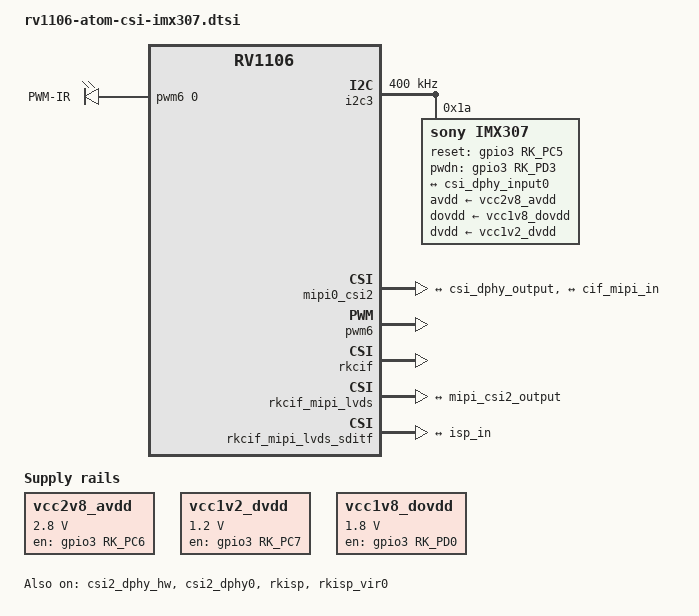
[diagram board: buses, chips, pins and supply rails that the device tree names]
// SPDX-License-Identifier: (GPL-2.0+ OR MIT)
/*
 * Copyright (c) 2022 Rockchip Electronics Co., Ltd.
 *
 */

/ {
	pwmleds {
		compatible = "pwm-leds";

		pwmi_ir {
			label = "PWM-IR";
			pwms = <&pwm6 0 25000 0>;
			max-brightness = <100>;
			linux,default-trigger = "default-on";
		};
	};

	vcc2v8_avdd: vcc2v8_avdd {
		compatible = "regulator-fixed";
		gpio = <&gpio3 RK_PC6 GPIO_ACTIVE_HIGH>;
		regulator-name = "vcc2v8_avdd";
		regulator-min-microvolt = <2800000>;
		regulator-max-microvolt = <2800000>;
		enable-active-high;
		pinctrl-names = "default";
		pinctrl-0 = <&vcc2v8_avdd_pin>;
	};

	vcc1v2_dvdd: vcc1v2_dvdd {
		compatible = "regulator-fixed";
		gpio = <&gpio3 RK_PC7 GPIO_ACTIVE_HIGH>;
		regulator-name = "vcc1v2_dvdd";
		regulator-min-microvolt = <1200000>;
		regulator-max-microvolt = <1200000>;
		enable-active-high;
		pinctrl-names = "default";
		pinctrl-0 = <&vcc1v2_dvdd_pin>;
	};

	vcc1v8_dovdd: vcc1v8_dovdd {
		compatible = "regulator-fixed";
		gpio = <&gpio3 RK_PD0 GPIO_ACTIVE_HIGH>;
		regulator-name = "vcc1v8_dovdd";
		regulator-min-microvolt = <1800000>;
		regulator-max-microvolt = <1800000>;
		enable-active-high;
		pinctrl-names = "default";
		pinctrl-0 = <&vcc1v8_dovdd_pin>;
	};
};

&csi2_dphy_hw {
	status = "okay";
};

&csi2_dphy0 {
	status = "okay";

	ports {
		#address-cells = <1>;
		#size-cells = <0>;

		port@0 {
			reg = <0>;
			#address-cells = <1>;
			#size-cells = <0>;

			csi_dphy_input0: endpoint@0 {
				reg = <0>;
				remote-endpoint = <&imx307_out>;
				data-lanes = <1 2 3 4>;
			};
		};

		port@1 {
			reg = <1>;
			#address-cells = <1>;
			#size-cells = <0>;

			csi_dphy_output: endpoint@0 {
				reg = <0>;
				remote-endpoint = <&mipi_csi2_input>;
			};
		};
	};
};

&i2c3 {
	status = "okay";
	clock-frequency = <400000>;
	pinctrl-names = "default";
	pinctrl-0 = <&i2c3m2_xfer>;

	/* sc530ai: sc530ai@30 {
		compatible = "smartsens,sc530ai";
		status = "okay";
		reg = <0x30>;
		clocks = <&cru MCLK_REF_MIPI0>;
		clock-names = "xvclk";
		reset-gpios = <&gpio3 RK_PC5 GPIO_ACTIVE_HIGH>;
		pwdn-gpios = <&gpio3 RK_PD3 GPIO_ACTIVE_HIGH>;
		avdd-supply = <&vcc2v8_avdd>;
		dovdd-supply = <&vcc1v8_dovdd>;
		dvdd-supply = <&vcc1v2_dvdd>;
		pinctrl-names = "default";
		pinctrl-0 = <&mipi_refclk_out0 &sc530ai_pwdn &sc530ai_pwdn>;
		rockchip,camera-module-index = <0>;
		rockchip,camera-module-facing = "back";
		rockchip,camera-module-name = "CMK-OT2115-PC1";
		rockchip,camera-module-lens-name = "30IRC-F16";
		port {
			sc530ai_out: endpoint {
				remote-endpoint = <&csi_dphy_input0>;
				data-lanes = <1 2 3 4>;
			};
		};
	}; */

	imx307: imx307@1a {
		compatible = "sony,imx307";
		status = "okay";
		reg = <0x1a>;
		clocks = <&cru MCLK_REF_MIPI0>;
		clock-names = "xvclk";
		reset-gpios = <&gpio3 RK_PC5 GPIO_ACTIVE_HIGH>;
		pwdn-gpios = <&gpio3 RK_PD3 GPIO_ACTIVE_HIGH>;
		avdd-supply = <&vcc2v8_avdd>;
		dovdd-supply = <&vcc1v8_dovdd>;
		dvdd-supply = <&vcc1v2_dvdd>;
		pinctrl-names = "default";
		pinctrl-0 = <&mipi_refclk_out0 &sc530ai_rst &sc530ai_pwdn>;
		rockchip,camera-module-index = <0>;
		rockchip,camera-module-facing = "back";
		rockchip,camera-module-name = "CMK-OT2115-PC1";
		rockchip,camera-module-lens-name = "30IRC-F16";
		//lens-focus = <&cam_ircut0>;
		port {
			imx307_out: endpoint {
				remote-endpoint = <&csi_dphy_input0>;
				data-lanes = <1 2 3 4>;
			};
		};
	};
};

&mipi0_csi2 {
	status = "okay";

	ports {
		#address-cells = <1>;
		#size-cells = <0>;

		port@0 {
			reg = <0>;
			#address-cells = <1>;
			#size-cells = <0>;

			mipi_csi2_input: endpoint@1 {
				reg = <1>;
				remote-endpoint = <&csi_dphy_output>;
			};
		};

		port@1 {
			reg = <1>;
			#address-cells = <1>;
			#size-cells = <0>;

			mipi_csi2_output: endpoint@0 {
				reg = <0>;
				remote-endpoint = <&cif_mipi_in>;
			};
		};
	};
};

&pwm6 {
	status = "okay";
	pinctrl-names = "active";
	pinctrl-0 = <&pwm6m1_pins>;
};

&rkcif {
	status = "okay";
};

&rkcif_mipi_lvds {
	status = "okay";

	pinctrl-names = "default";
	pinctrl-0 = <&mipi_pins>;
	port {
		/* MIPI CSI-2 endpoint */
		cif_mipi_in: endpoint {
			remote-endpoint = <&mipi_csi2_output>;
		};
	};
};

&rkcif_mipi_lvds_sditf {
	status = "okay";

	port {
		/* MIPI CSI-2 endpoint */
		mipi_lvds_sditf: endpoint {
			remote-endpoint = <&isp_in>;
		};
	};
};

&rkisp {
	status = "okay";
};

&rkisp_vir0 {
	status = "okay";

	port@0 {
		isp_in: endpoint {
			remote-endpoint = <&mipi_lvds_sditf>;
		};
	};
};

&pinctrl {
	mipi {
		/omit-if-no-ref/
		sc530ai_rst: sc530ai_rst {
			rockchip,pins =
				<3 RK_PC5 0 &pcfg_pull_up>;
		};
		/omit-if-no-ref/
		sc530ai_pwdn: sc530ai_pwdn {
			rockchip,pins =
				<3 RK_PD3 0 &pcfg_pull_up>;
		};
		/omit-if-no-ref/
		vcc2v8_avdd_pin: vcc2v8_avdd_pin {
			rockchip,pins =
				<3 RK_PC6 0 &pcfg_pull_up>;
		};
		/omit-if-no-ref/
		vcc1v2_dvdd_pin: vcc1v2_dvdd_pin {
			rockchip,pins =
				<3 RK_PC7 0 &pcfg_pull_up>;
		};
		/omit-if-no-ref/
		vcc1v8_dovdd_pin: vcc1v8_dovdd_pin {
			rockchip,pins =
				<3 RK_PD0 0 &pcfg_pull_up>;
		};
	};
};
